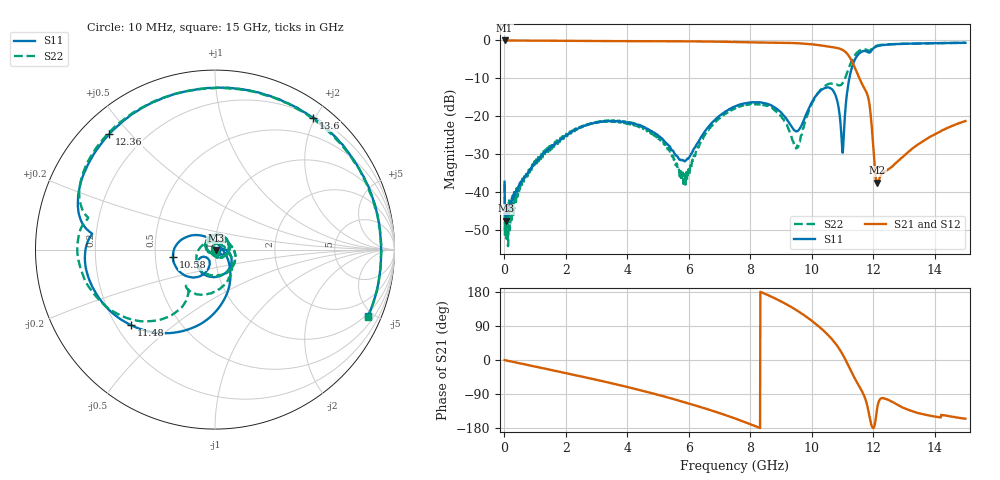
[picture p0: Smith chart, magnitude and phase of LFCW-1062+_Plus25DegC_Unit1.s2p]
!MINI-CIRCUITS LABORATORY
!S-PARAMETERS
!MODEL: LFCW-1062+  Unit 1
!RUN: QN1315035 DATE CODE:1315  TEMPERATURE: 25 C
!UNIT WAS SOLDERED ON TEST BOARD TB-720+ WITH COMPLETION OF THRU PORT CALIBRATION ON TB-720+
!CONNECTION: PORT<1> - INPUT<1>, PORT<2> - OUTPUT PORT<1>
!TESTED WITH: PNAX NETWORK ANALYZER N5242A  CAL DUE: 3/15/2014
# MHZ S DB R 50
!Frequency  S11 dB  S11 DEG  S21 dB  S21 DEG  S12 dB  S12 DEG  S22 dB  S22 DEG
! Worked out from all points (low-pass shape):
!   1500 points, 10 MHz to 15 GHz, reference 50 ohm
!   highest |S21| = -0.01 dB at 10 MHz (marker M1); lowest = -37.5 dB at 12.13 GHz (marker M2)
!   |S21| within 3 dB of the highest: start of sweep to 11.09 GHz
!   lowest |S11| = -47.5 dB at 60 MHz (marker M3), VSWR 1.01, Z = 50.4 - j0.165 ohm
!   |S11| at or under -10 dB: start of sweep to 11.22 GHz
!   |S22| runs from -54.2 to -0.6 dB; largest |S21 - S12| = 0.0091
!   S11 on the Smith chart (normalised r, x): 10 MHz: 1.01, -0.03; 10.58 GHz: 0.62, -0.05; 11.48 GHz: 0.26, -0.36; 12.36 GHz: 0.08, +0.44; 13.6 GHz: 0.22, +1.97; 15 GHz: 0.85, -4.63
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10  -37.21 -77.3  -0.01 -0.2  -0.01 -0.2  -37.87 -98.8
60  -47.47 -22.8  -0.02 -1.1  -0.01 -1.1  -51.97 -79.3
1030  -32.10 -130.9  -0.06 -17.8  -0.06 -17.8  -31.49 -133.3
2510  -22.77 119.7  -0.13 -43.5  -0.13 -43.6  -22.61 121.9
5010  -25.04 -29.1  -0.21 -92.0  -0.22 -92.2  -25.93 -59.7
5890  -31.73 -14.3  -0.24 -112.1  -0.24 -112.2  -37.99 152.8
6560  -23.56 -3.1  -0.28 -128.6  -0.29 -128.7  -24.29 43.8
7510  -17.34 -56.8  -0.42 -154.4  -0.42 -154.4  -17.94 -31.8
8700  -17.16 -131.0  -0.60 166.7  -0.59 166.5  -17.68 -136.6
9500  -23.94 -131.1  -0.72 131.8  -0.72 131.6  -28.45 75.5
10010  -16.24 -116.0  -1.02 103.0  -1.02 102.8  -16.57 -50.3
10580  -12.46 -170.3  -1.66 61.9  -1.67 61.8  -11.38 -113.6
11010  -29.56 34.0  -2.52 14.2  -2.52 14.1  -11.23 -122.7
11220  -10.17 -84.0  -4.23 -19.2  -4.24 -19.3  -6.96 -124.3
11480  -4.03 -137.8  -8.62 -60.0  -8.61 -60.1  -3.18 -154.4
11850  -3.19 173.3  -15.45 -136.4  -15.43 -136.6  -2.73 166.5
12130  -1.52 152.5  -37.48 -127.3  -37.41 -128.1  -1.34 147.3
12360  -1.19 132.5  -34.60 -101.5  -34.70 -101.2  -1.07 128.6
12510  -1.06 121.1  -33.83 -105.9  -33.76 -105.3  -1.01 117.8
13600  -0.76 53.3  -26.65 -142.7  -26.62 -142.7  -0.81 51.3
14320  -0.68 13.5  -23.41 -146.0  -23.47 -153.3  -0.68 12.4
15000  -0.64 -23.6  -21.23 -154.8  -21.35 -160.8  -0.62 -23.7
